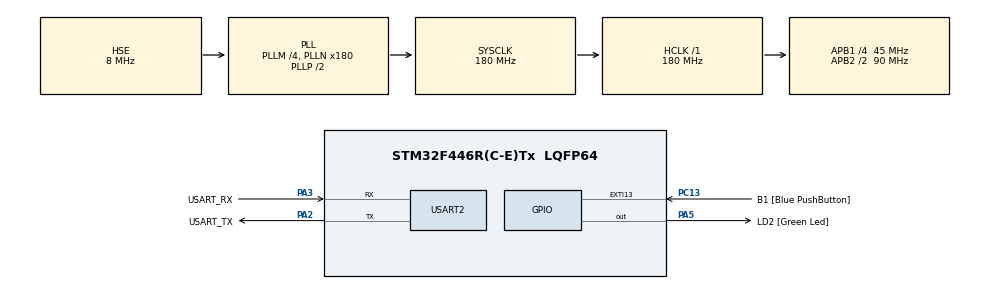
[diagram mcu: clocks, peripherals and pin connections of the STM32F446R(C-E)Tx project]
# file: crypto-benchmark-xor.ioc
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Mcu.Family=STM32F4
Mcu.Name=STM32F446R(C-E)Tx
Mcu.Package=LQFP64
NVIC.PriorityGroup=NVIC_PRIORITYGROUP_0
PA13.GPIO_Label=TMS
PA13.Mode=Serial_Wire
PA13.Signal=SYS_JTMS-SWDIO
PA14.GPIO_Label=TCK
PA14.Mode=Serial_Wire
PA14.Signal=SYS_JTCK-SWCLK
PA2.GPIO_Label=USART_TX
PA2.Mode=Asynchronous
PA2.Signal=USART2_TX
PA3.GPIO_Label=USART_RX
PA3.Mode=Asynchronous
PA3.Signal=USART2_RX
PA5.GPIO_Label=LD2 [Green Led]
PA5.Signal=GPIO_Output
PB3.GPIO_Label=SWO
PB3.Signal=SYS_JTDO-SWO
PC13.GPIO_Label=B1 [Blue PushButton]
PC13.GPIO_ModeDefaultEXTI=GPIO_MODE_IT_FALLING
PC13.Signal=GPXTI13
PC14-OSC32_IN.Mode=LSE-External-Oscillator
PC14-OSC32_IN.Signal=RCC_OSC32_IN
PC15-OSC32_OUT.Mode=LSE-External-Oscillator
PC15-OSC32_OUT.Signal=RCC_OSC32_OUT
PH0-OSC_IN.Mode=HSE-External-Oscillator
PH0-OSC_IN.Signal=RCC_OSC_IN
PH1-OSC_OUT.Mode=HSE-External-Oscillator
PH1-OSC_OUT.Signal=RCC_OSC_OUT
ProjectManager.HeapSize=0x200
ProjectManager.StackSize=0x400
ProjectManager.TargetToolchain=STM32CubeIDE
RCC.48MHZClocksFreq_Value=84000000
RCC.AHBFreq_Value=180000000
RCC.APB1CLKDivider=RCC_HCLK_DIV4
RCC.APB1Freq_Value=45000000
RCC.APB1TimFreq_Value=90000000
RCC.APB2CLKDivider=RCC_HCLK_DIV2
RCC.APB2Freq_Value=90000000
RCC.APB2TimFreq_Value=180000000
RCC.CortexFreq_Value=180000000
RCC.FLatency-AdvancedSettings=FLASH_LATENCY_5
RCC.HCLKFreq_Value=180000000
RCC.HSE_VALUE=8000000
RCC.HSI_VALUE=16000000
RCC.PLLM=4
RCC.PLLN=180
RCC.PLLSourceVirtual=RCC_PLLSOURCE_HSE
RCC.SYSCLKFreq_VALUE=180000000
RCC.SYSCLKSource=RCC_SYSCLKSOURCE_PLLCLK
RCC.USBFreq_Value=180000000
RCC.VCOOutputFreq_Value=360000000
USART2.VirtualMode=VM_ASYNC
board=NUCLEO-F446RE

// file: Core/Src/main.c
/* USER CODE BEGIN Header */
/**
  ******************************************************************************
  * @file           : main.c
  * @brief          : Main program body
  ******************************************************************************
  * @attention
  *
  * Copyright (c) 2024 STMicroelectronics.
  * All rights reserved.
  *
  * This software is licensed under terms that can be found in the LICENSE file
  * in the root directory of this software component.
  * If no LICENSE file comes with this software, it is provided AS-IS.
  *
  ******************************************************************************
  */
/* USER CODE END Header */
#include "main.h"

UART_HandleTypeDef huart2;

void SystemClock_Config(void);
static void MX_GPIO_Init(void);
static void MX_USART2_UART_Init(void);

/* USER CODE BEGIN 0 */
const uint8_t key[] =
  {
    0x20, 0x88, 0x5C, 0x1A, 0x66, 0xB9, 0x2E,
	  0x21, 0x44, 0xFA, 0x08, 0xDD, 0xAC, 0x12
  };

uint8_t msg[] =
{
    0x6b, 0xc1, 0xbe, 0xe2, 0x2e, 0x40, 0x9f, 0x96,
    0xe9, 0x3d, 0x7e, 0x11, 0x73, 0x93
};

/* USER CODE END 0 */

int main(void)
{

  /* MCU Configuration--------------------------------------------------------*/

  /* Reset of all peripherals, Initializes the Flash interface and the Systick. */
  HAL_Init();

  /* Configure the system clock */
  SystemClock_Config();

  /* Initialize all configured peripherals */
  MX_GPIO_Init();
  MX_USART2_UART_Init();
  /* USER CODE BEGIN 2 */
  uint32_t stop_millis, start_millis;
  uint32_t result;

  HAL_UART_Transmit(&huart2, (uint8_t *)"Piotr Slawecki & Jan Chyczynski - Crypto Alg test for STM32F446:\n\r", strlen("Piotr Slawecki & Jan Chyczynski - Crypto Alg test for STM32F446:\n\r"), 100);
  start_millis = HAL_GetTick();
    for(int i = 0; i < 50000; i++) {
      //encrypt
      for(int j = 0; j < 14; j++) {
    	  msg[j] ^= key[j];
      }
      //decrypt
      for(int j = 0; j < 14; j++) {
          msg[j] ^= key[j];
      }

    }
    stop_millis = HAL_GetTick();
    result = stop_millis - start_millis;
      /* Turn on the green led in case of AES CBC operations are succssfuls*/
    uint8_t buff[50];
    sprintf(buff, "Elapsed (XOR): %ld\n\r", result);
    HAL_UART_Transmit(&huart2, (uint8_t *)buff, strlen(buff), 100);
    HAL_GPIO_WritePin(GPIOA, GPIO_PIN_5, GPIO_PIN_SET);
  /* USER CODE END 2 */

  /* Infinite loop */
  while (1)
  {

  }
}

void SystemClock_Config(void)
{
  RCC_OscInitTypeDef RCC_OscInitStruct = {0};
  RCC_ClkInitTypeDef RCC_ClkInitStruct = {0};

  /** Configure the main internal regulator output voltage
  */
  __HAL_RCC_PWR_CLK_ENABLE();
  __HAL_PWR_VOLTAGESCALING_CONFIG(PWR_REGULATOR_VOLTAGE_SCALE1);

  /** Initializes the RCC Oscillators according to the specified parameters
  * in the RCC_OscInitTypeDef structure.
  */
  RCC_OscInitStruct.OscillatorType = RCC_OSCILLATORTYPE_HSE;
  RCC_OscInitStruct.HSEState = RCC_HSE_ON;
  RCC_OscInitStruct.PLL.PLLState = RCC_PLL_ON;
  RCC_OscInitStruct.PLL.PLLSource = RCC_PLLSOURCE_HSE;
  RCC_OscInitStruct.PLL.PLLM = 4;
  RCC_OscInitStruct.PLL.PLLN = 180;
  RCC_OscInitStruct.PLL.PLLP = RCC_PLLP_DIV2;
  RCC_OscInitStruct.PLL.PLLQ = 2;
  RCC_OscInitStruct.PLL.PLLR = 2;
  if (HAL_RCC_OscConfig(&RCC_OscInitStruct) != HAL_OK)
  {
    Error_Handler();
  }

  /** Activate the Over-Drive mode
  */
  if (HAL_PWREx_EnableOverDrive() != HAL_OK)
  {
    Error_Handler();
  }

  /** Initializes the CPU, AHB and APB buses clocks
  */
  RCC_ClkInitStruct.ClockType = RCC_CLOCKTYPE_HCLK|RCC_CLOCKTYPE_SYSCLK
                              |RCC_CLOCKTYPE_PCLK1|RCC_CLOCKTYPE_PCLK2;
  RCC_ClkInitStruct.SYSCLKSource = RCC_SYSCLKSOURCE_PLLCLK;
  RCC_ClkInitStruct.AHBCLKDivider = RCC_SYSCLK_DIV1;
  RCC_ClkInitStruct.APB1CLKDivider = RCC_HCLK_DIV4;
  RCC_ClkInitStruct.APB2CLKDivider = RCC_HCLK_DIV2;

  if (HAL_RCC_ClockConfig(&RCC_ClkInitStruct, FLASH_LATENCY_5) != HAL_OK)
  {
    Error_Handler();
  }
}

static void MX_USART2_UART_Init(void)
{

  huart2.Instance = USART2;
  huart2.Init.BaudRate = 115200;
  huart2.Init.WordLength = UART_WORDLENGTH_8B;
  huart2.Init.StopBits = UART_STOPBITS_1;
  huart2.Init.Parity = UART_PARITY_NONE;
  huart2.Init.Mode = UART_MODE_TX_RX;
  huart2.Init.HwFlowCtl = UART_HWCONTROL_NONE;
  huart2.Init.OverSampling = UART_OVERSAMPLING_16;
  if (HAL_UART_Init(&huart2) != HAL_OK)
  {
    Error_Handler();
  }

}

static void MX_GPIO_Init(void)
{
  GPIO_InitTypeDef GPIO_InitStruct = {0};

  /* GPIO Ports Clock Enable */
  __HAL_RCC_GPIOC_CLK_ENABLE();
  __HAL_RCC_GPIOH_CLK_ENABLE();
  __HAL_RCC_GPIOA_CLK_ENABLE();
  __HAL_RCC_GPIOB_CLK_ENABLE();

  /*Configure GPIO pin Output Level */
  HAL_GPIO_WritePin(LD2_GPIO_Port, LD2_Pin, GPIO_PIN_RESET);

  /*Configure GPIO pin : B1_Pin */
  GPIO_InitStruct.Pin = B1_Pin;
  GPIO_InitStruct.Mode = GPIO_MODE_IT_FALLING;
  GPIO_InitStruct.Pull = GPIO_NOPULL;
  HAL_GPIO_Init(B1_GPIO_Port, &GPIO_InitStruct);

  /*Configure GPIO pin : LD2_Pin */
  GPIO_InitStruct.Pin = LD2_Pin;
  GPIO_InitStruct.Mode = GPIO_MODE_OUTPUT_PP;
  GPIO_InitStruct.Pull = GPIO_NOPULL;
  GPIO_InitStruct.Speed = GPIO_SPEED_FREQ_LOW;
  HAL_GPIO_Init(LD2_GPIO_Port, &GPIO_InitStruct);

}

void Error_Handler(void)
{
  __disable_irq();
  while (1)
  {
  }
}
